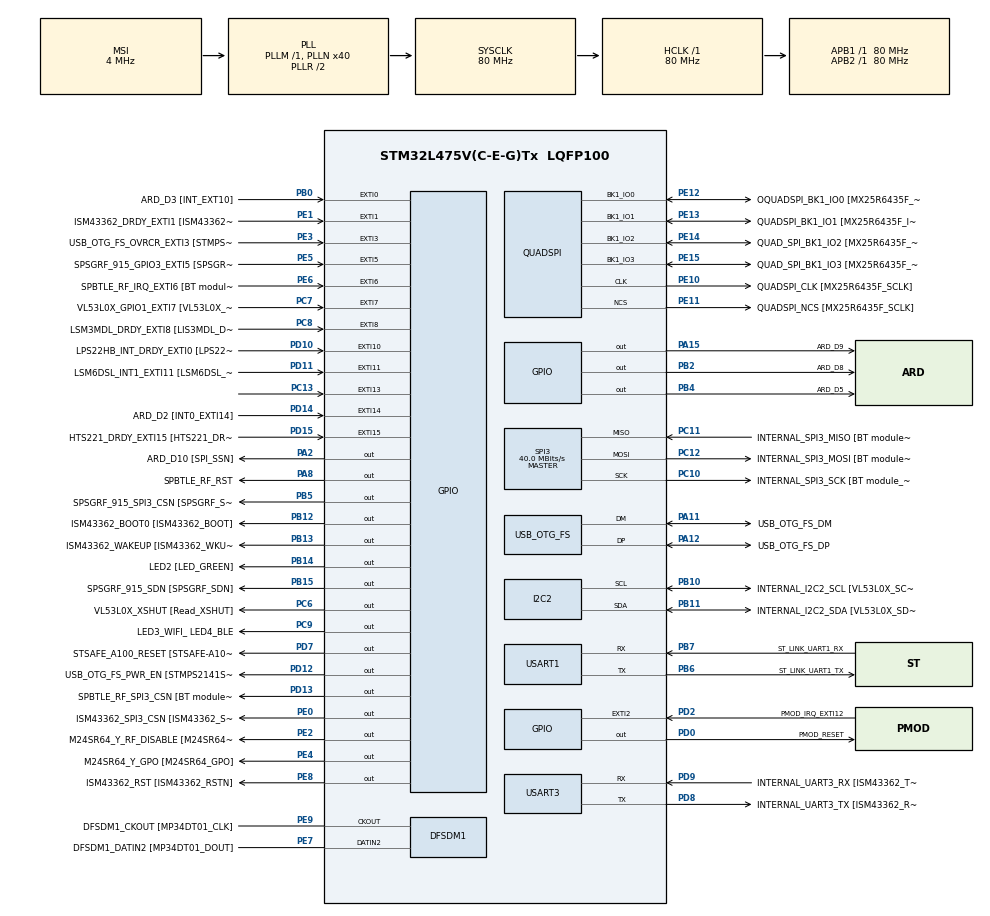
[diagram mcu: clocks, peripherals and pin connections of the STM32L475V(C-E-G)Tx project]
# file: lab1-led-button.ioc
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FREERTOS.Tasks01=defaultTask,24,128,StartDefaultTask,Default,NULL,Dynamic,NULL,NULL;myTask02,47,128,StartTask02,Default,NULL,Dynamic,NULL,NULL
I2C2.Timing=0x10D19CE4
Mcu.Family=STM32L4
Mcu.Name=STM32L475V(C-E-G)Tx
Mcu.Package=LQFP100
NVIC.EXTI15_10_IRQn=true\:5\:0\:false\:false\:true\:true\:true\:true\:true
NVIC.EXTI9_5_IRQn=true\:5\:0\:false\:false\:true\:true\:true\:true\:true
NVIC.PriorityGroup=NVIC_PRIORITYGROUP_4
NVIC.TIM7_IRQn=true\:5\:0\:false\:false\:true\:true\:true\:true\:true
PA0.GPIO_Label=ARD_D1 [UART4_TX]
PA0.Signal=UART4_TX
PA1.GPIO_Label=ARD_D0 [UART4_RX]
PA1.Signal=UART4_RX
PA10.GPIO_Label=USB_OTG_FS_ID
PA10.Signal=USB_OTG_FS_ID
PA11.GPIO_Label=USB_OTG_FS_DM
PA11.Mode=Device_Only
PA11.Signal=USB_OTG_FS_DM
PA12.GPIO_Label=USB_OTG_FS_DP
PA12.Mode=Device_Only
PA12.Signal=USB_OTG_FS_DP
PA13\ (JTMS-SWDIO).GPIO_Label=SYS_JTMS_SWDIO
PA13\ (JTMS-SWDIO).Mode=Serial_Wire
PA13\ (JTMS-SWDIO).Signal=SYS_JTMS-SWDIO
PA14\ (JTCK-SWCLK).GPIO_Label=SYS_JTCK_SWCLK
PA14\ (JTCK-SWCLK).Mode=Serial_Wire
PA14\ (JTCK-SWCLK).Signal=SYS_JTCK-SWCLK
PA15\ (JTDI).GPIO_Label=ARD_D9
PA15\ (JTDI).Signal=GPIO_Output
PA2.GPIO_Label=ARD_D10 [SPI_SSN]
PA2.Signal=GPIO_Output
PA3.GPIO_Label=ARD_D4
PA3.Signal=S_TIM2_CH4
PA4.GPIO_Label=ARD_D7
PA4.Signal=ADCx_IN9
PA5.GPIO_Label=ARD_D13 [SPI1_SCK]
PA5.Signal=SPI1_SCK
PA6.GPIO_Label=ARD_D12 [SPI1_MISO]
PA6.Signal=SPI1_MISO
PA7.GPIO_Label=ARD_D11 [SPI1_MOSI]
PA7.Signal=SPI1_MOSI
PA8.GPIO_Label=SPBTLE_RF_RST
PA8.Signal=GPIO_Output
PA9.GPIO_Label=USB_OTG_FS_VBUS [STMPS2141STR_OUT]
PA9.Signal=USB_OTG_FS_VBUS
PB0.GPIO_Label=ARD_D3 [INT_EXT10]
PB0.Signal=GPXTI0
PB1.GPIO_Label=ARD_D6 [ADC1_IN6]
PB1.Signal=ADCx_IN16
PB10.GPIO_Label=INTERNAL_I2C2_SCL [VL53L0X_SCL]
PB10.GPIO_Pu=GPIO_PULLUP
PB10.Mode=I2C
PB10.Signal=I2C2_SCL
PB11.GPIO_Label=INTERNAL_I2C2_SDA [VL53L0X_SDA]
PB11.GPIO_Pu=GPIO_PULLUP
PB11.Mode=I2C
PB11.Signal=I2C2_SDA
PB12.GPIO_Label=ISM43362_BOOT0 [ISM43362_BOOT]
PB12.Signal=GPIO_Output
PB13.GPIO_Label=ISM43362_WAKEUP [ISM43362_WKUP]
PB13.Signal=GPIO_Output
PB14.GPIO_Label=LED2 [LED_GREEN]
PB14.Signal=GPIO_Output
PB15.GPIO_Label=SPSGRF_915_SDN [SPSGRF_SDN]
PB15.Signal=GPIO_Output
PB2.GPIO_Label=ARD_D8
PB2.Signal=GPIO_Output
PB3\ (JTDO-TRACESWO).GPIO_Label=SYS_JTD0_SWO
PB3\ (JTDO-TRACESWO).Signal=SYS_JTDO-SWO
PB4\ (NJTRST).GPIO_Label=ARD_D5
PB4\ (NJTRST).Signal=GPIO_Output
PB5.GPIO_Label=SPSGRF_915_SPI3_CSN [SPSGRF_SPI_CS]
PB5.PinState=GPIO_PIN_SET
PB5.Signal=GPIO_Output
PB6.GPIO_Label=ST_LINK_UART1_TX
PB6.Mode=Asynchronous
PB6.Signal=USART1_TX
PB7.GPIO_Label=ST_LINK_UART1_RX
PB7.Mode=Asynchronous
PB7.Signal=USART1_RX
PB8.GPIO_Label=ARD_D15 [I2C1_SCL]
PB8.Signal=I2C1_SCL
PB9.GPIO_Label=ARD_D14 [I2C1_SDA]
PB9.Signal=I2C1_SDA
PC0.GPIO_Label=ARD_A5 [ADC]
PC0.Signal=ADCx_IN1
PC1.GPIO_Label=ARD_A4 [ADC]
PC1.Signal=ADCx_IN2
PC10.GPIO_Label=INTERNAL_SPI3_SCK [BT module_SPI_SCLK] [ISM43362_SCK]
PC10.Mode=Full_Duplex_Master
PC10.Signal=SPI3_SCK
PC11.GPIO_Label=INTERNAL_SPI3_MISO [BT module_SPI_MISO] [ISM43362_MISO]
PC11.Mode=Full_Duplex_Master
PC11.Signal=SPI3_MISO
PC12.GPIO_Label=INTERNAL_SPI3_MOSI [BT module_SPI_MOSI] [ISM43362_MOSI]
PC12.Mode=Full_Duplex_Master
PC12.Signal=SPI3_MOSI
PC13.GPIO_ModeDefaultEXTI=GPIO_MODE_IT_RISING_FALLING
PC13.Signal=GPXTI13
PC14-OSC32_IN\ (PC14).Mode=LSE-External-Oscillator
PC14-OSC32_IN\ (PC14).Signal=RCC_OSC32_IN
PC15-OSC32_OUT\ (PC15).Mode=LSE-External-Oscillator
PC15-OSC32_OUT\ (PC15).Signal=RCC_OSC32_OUT
PC2.GPIO_Label=ARD_A3 [ADC]
PC2.Signal=ADCx_IN3
PC3.GPIO_Label=ARD_A2 [ADC]
PC3.Signal=ADCx_IN4
PC4.GPIO_Label=ARD_A1 [ADC]
PC4.Signal=ADCx_IN13
PC5.GPIO_Label=ARD_A0 [ADC]
PC5.Signal=ADCx_IN14
PC6.GPIO_Label=VL53L0X_XSHUT [Read_XSHUT]
PC6.Signal=GPIO_Output
PC7.GPIO_Label=VL53L0X_GPIO1_EXTI7 [VL53L0X_GPIO1]
PC7.Signal=GPXTI7
PC8.GPIO_Label=LSM3MDL_DRDY_EXTI8 [LIS3MDL_DRDY]
PC8.Signal=GPXTI8
PC9.GPIO_Label=LED3_WIFI_ LED4_BLE
PC9.Signal=GPIO_Output
PD0.GPIO_Label=PMOD_RESET
PD0.Signal=GPIO_Output
PD1.GPIO_Label=PMOD_SPI2_SCK
PD1.Signal=SPI2_SCK
PD10.GPIO_Label=LPS22HB_INT_DRDY_EXTI0 [LPS22HB_INT_DRDY] 
PD10.Signal=GPXTI10
PD11.GPIO_Label=LSM6DSL_INT1_EXTI11 [LSM6DSL_INT1]
PD11.Signal=GPXTI11
PD12.GPIO_Label=USB_OTG_FS_PWR_EN [STMPS2141STR_EN]
PD12.Signal=GPIO_Output
PD13.GPIO_Label=SPBTLE_RF_SPI3_CSN [BT module_SPI_CS]
PD13.PinState=GPIO_PIN_SET
PD13.Signal=GPIO_Output
PD14.GPIO_Label=ARD_D2 [INT0_EXTI14]
PD14.Signal=GPXTI14
PD15.GPIO_Label=HTS221_DRDY_EXTI15 [HTS221_DRDY]
PD15.Signal=GPXTI15
PD2.GPIO_Label=PMOD_IRQ_EXTI12
PD2.Signal=GPXTI2
PD3.GPIO_Label=PMOD_UART2_CTS
PD3.Signal=USART2_CTS
PD4.GPIO_Label=PMOD_UART2_RTS
PD4.Signal=USART2_RTS
PD5.GPIO_Label=PMOD_UART2_TX
PD5.Signal=USART2_TX
PD6.GPIO_Label=PMOD_UART2_RX
PD6.Signal=USART2_RX
PD7.GPIO_Label=STSAFE_A100_RESET [STSAFE-A100_RESET]
PD7.Signal=GPIO_Output
PD8.GPIO_Label=INTERNAL_UART3_TX [ISM43362_RX]
PD8.Mode=Asynchronous
PD8.Signal=USART3_TX
PD9.GPIO_Label=INTERNAL_UART3_RX [ISM43362_TX]
PD9.Mode=Asynchronous
PD9.Signal=USART3_RX
PE0.GPIO_Label=ISM43362_SPI3_CSN [ISM43362_SSN]
PE0.PinState=GPIO_PIN_SET
PE0.Signal=GPIO_Output
PE1.GPIO_Label=ISM43362_DRDY_EXTI1 [ISM43362_DATARDY]
PE1.Signal=GPXTI1
PE10.GPIO_Label=QUADSPI_CLK [MX25R6435F_SCLK]
PE10.Mode=Single Bank
PE10.Signal=QUADSPI_CLK
PE11.GPIO_Label=QUADSPI_NCS [MX25R6435F_SCLK]
PE11.Mode=Single Bank
PE11.Signal=QUADSPI_NCS
PE12.GPIO_Label=OQUADSPI_BK1_IO0 [MX25R6435F_IO0]
PE12.Mode=Single Bank
PE12.Signal=QUADSPI_BK1_IO0
PE13.GPIO_Label=QUADSPI_BK1_IO1 [MX25R6435F_IO1]
PE13.Mode=Single Bank
PE13.Signal=QUADSPI_BK1_IO1
PE14.GPIO_Label=QUAD_SPI_BK1_IO2 [MX25R6435F_IO2]
PE14.Mode=Single Bank
PE14.Signal=QUADSPI_BK1_IO2
PE15.GPIO_Label=QUAD_SPI_BK1_IO3 [MX25R6435F_IO3]
PE15.Mode=Single Bank
PE15.Signal=QUADSPI_BK1_IO3
PE2.GPIO_Label=M24SR64_Y_RF_DISABLE [M24SR64_RFDIS]
PE2.Signal=GPIO_Output
PE3.GPIO_Label=USB_OTG_FS_OVRCR_EXTI3 [STMPS2141STR_FAULT]
PE3.Signal=GPXTI3
PE4.GPIO_Label=M24SR64_Y_GPO [M24SR64_GPO]
PE4.Signal=GPIO_Output
PE5.GPIO_Label=SPSGRF_915_GPIO3_EXTI5 [SPSGRF_GPIO_3]
PE5.Signal=GPXTI5
PE6.GPIO_Label=SPBTLE_RF_IRQ_EXTI6 [BT module_SPI_IRQ]
PE6.Signal=GPXTI6
PE7.GPIO_Label=DFSDM1_DATIN2 [MP34DT01_DOUT]
PE7.Signal=S_DATAIN2DFSDM1
PE8.GPIO_Label=ISM43362_RST [ISM43362_RSTN]
PE8.Signal=GPIO_Output
PE9.GPIO_Label=DFSDM1_CKOUT [MP34DT01_CLK]
PE9.Signal=S_CKOUTDFSDM1
ProjectManager.HeapSize=0x200
ProjectManager.StackSize=0x400
ProjectManager.TargetToolchain=CMake
QUADSPI.ClockPrescaler=2
QUADSPI.FifoThreshold=4
QUADSPI.FlashSize=23
QUADSPI.SampleShifting=QSPI_SAMPLE_SHIFTING_HALFCYCLE
RCC.ADCFreq_Value=48000000
RCC.AHBFreq_Value=80000000
RCC.APB1Freq_Value=80000000
RCC.APB1TimFreq_Value=80000000
RCC.APB2Freq_Value=80000000
RCC.APB2TimFreq_Value=80000000
RCC.CortexFreq_Value=80000000
RCC.HCLKFreq_Value=80000000
RCC.HSE_VALUE=8000000
RCC.HSI_VALUE=16000000
RCC.MSI_VALUE=4000000
RCC.PLLN=40
RCC.PLLSAI1N=24
RCC.SYSCLKFreq_VALUE=80000000
RCC.SYSCLKSource=RCC_SYSCLKSOURCE_PLLCLK
RCC.USBFreq_Value=48000000
RCC.VCOOutputFreq_Value=160000000
SH.ADCx_IN1.0=ADC1_IN1
SH.ADCx_IN13.0=ADC1_IN13
SH.ADCx_IN14.0=ADC1_IN14
SH.ADCx_IN16.0=ADC1_IN16
SH.ADCx_IN2.0=ADC1_IN2
SH.ADCx_IN3.0=ADC1_IN3
SH.ADCx_IN4.0=ADC1_IN4
SH.ADCx_IN9.0=ADC1_IN9
SH.S_CKOUTDFSDM1.0=DFSDM1_CKOUT,CKOUT
SH.S_CKOUTDFSDM1.1=DFSDM1_CKOUT,PDM_SPI_Input_from_ch12_and_Internal_Clock
SH.S_DATAIN2DFSDM1.0=DFSDM1_DATIN2,PDM_SPI_Input_from_ch12_and_Internal_Clock
SH.S_TIM2_CH4.0=TIM2_CH4
SPI3.CalculateBaudRate=40.0 MBits/s
SPI3.Direction=SPI_DIRECTION_2LINES
SPI3.Mode=SPI_MODE_MASTER
SPI3.VirtualType=VM_MASTER
TIM7.Period=63999
TIM7.Prescaler=12499
USART1.VirtualMode-Asynchronous=VM_ASYNC
USART3.VirtualMode-Asynchronous=VM_ASYNC
USB_OTG_FS.VirtualMode=Device_Only
VP_FREERTOS_VS_CMSIS_V2.Mode=CMSIS_V2
VP_TIM7_VS_ClockSourceINT.Mode=Enable_Timer
board=B-L475E-IOT01A2

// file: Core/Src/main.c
/* USER CODE BEGIN Header */
/**
  ******************************************************************************
  * @file           : main.c
  * @brief          : Main program body
  ******************************************************************************
  * @attention
  *
  * Copyright (c) 2026 STMicroelectronics.
  * All rights reserved.
  *
  * This software is licensed under terms that can be found in the LICENSE file
  * in the root directory of this software component.
  * If no LICENSE file comes with this software, it is provided AS-IS.
  *
  ******************************************************************************
  */
/* USER CODE END Header */
#include "main.h"
#include "cmsis_os.h"

DFSDM_Channel_HandleTypeDef hdfsdm1_channel1;

I2C_HandleTypeDef hi2c2;

QSPI_HandleTypeDef hqspi;

SPI_HandleTypeDef hspi3;

TIM_HandleTypeDef htim7;

UART_HandleTypeDef huart1;
UART_HandleTypeDef huart3;

PCD_HandleTypeDef hpcd_USB_OTG_FS;

/* Definitions for defaultTask */
osThreadId_t defaultTaskHandle;
const osThreadAttr_t defaultTask_attributes = {
  .name = "defaultTask",
  .stack_size = 128 * 4,
  .priority = (osPriority_t) osPriorityNormal,
};
/* Definitions for myTask02 */
osThreadId_t myTask02Handle;
const osThreadAttr_t myTask02_attributes = {
  .name = "myTask02",
  .stack_size = 128 * 4,
  .priority = (osPriority_t) osPriorityHigh7,
};
/* USER CODE BEGIN PV */

osSemaphoreId_t buttonSemaphore;
osSemaphoreId_t timerSemaphore;
osMutexId_t ledMutex;

typedef enum{
  BUTTON_PRESSED,
  BUTTON_RELEASED
} ButtonEvent_t;

osMessageQueueId_t buttonQueue;

/* USER CODE END PV */

void SystemClock_Config(void);
static void MX_GPIO_Init(void);
static void MX_DFSDM1_Init(void);
static void MX_I2C2_Init(void);
static void MX_QUADSPI_Init(void);
static void MX_SPI3_Init(void);
static void MX_USART1_UART_Init(void);
static void MX_USART3_UART_Init(void);
static void MX_USB_OTG_FS_PCD_Init(void);
static void MX_TIM7_Init(void);
void StartDefaultTask(void *argument);
void StartTask02(void *argument);

int main(void)
{

  /* MCU Configuration--------------------------------------------------------*/

  /* Reset of all peripherals, Initializes the Flash interface and the Systick. */
  HAL_Init();

  /* Configure the system clock */
  SystemClock_Config();

  /* Initialize all configured peripherals */
  MX_GPIO_Init();
  MX_DFSDM1_Init();
  MX_I2C2_Init();
  MX_QUADSPI_Init();
  MX_SPI3_Init();
  MX_USART1_UART_Init();
  MX_USART3_UART_Init();
  MX_USB_OTG_FS_PCD_Init();
  MX_TIM7_Init();

  /* Init scheduler */
  osKernelInitialize();

  /* USER CODE BEGIN RTOS_SEMAPHORES */
  /* add semaphores, ... */
  buttonSemaphore = osSemaphoreNew(1,0,NULL);
  timerSemaphore = osSemaphoreNew(1,0,NULL);
  ledMutex = osMutexNew(NULL);
  buttonQueue = osMessageQueueNew(8,sizeof(ButtonEvent_t),NULL);

  /* USER CODE END RTOS_SEMAPHORES */

  /* USER CODE BEGIN RTOS_TIMERS */
  /* start timers, add new ones, ... */
  HAL_TIM_Base_Start_IT(&htim7);
  /* USER CODE END RTOS_TIMERS */

  /* Create the thread(s) */
  /* creation of defaultTask */
  defaultTaskHandle = osThreadNew(StartDefaultTask, NULL, &defaultTask_attributes);

  /* creation of myTask02 */
  myTask02Handle = osThreadNew(StartTask02, NULL, &myTask02_attributes);

  /* Start scheduler */
  osKernelStart();

  /* We should never get here as control is now taken by the scheduler */

  /* Infinite loop */
  while (1)
  {

  }
}

void SystemClock_Config(void)
{
  RCC_OscInitTypeDef RCC_OscInitStruct = {0};
  RCC_ClkInitTypeDef RCC_ClkInitStruct = {0};

  /** Configure the main internal regulator output voltage
  */
  if (HAL_PWREx_ControlVoltageScaling(PWR_REGULATOR_VOLTAGE_SCALE1) != HAL_OK)
  {
    Error_Handler();
  }

  /** Configure LSE Drive Capability
  */
  HAL_PWR_EnableBkUpAccess();
  __HAL_RCC_LSEDRIVE_CONFIG(RCC_LSEDRIVE_LOW);

  /** Initializes the RCC Oscillators according to the specified parameters
  * in the RCC_OscInitTypeDef structure.
  */
  RCC_OscInitStruct.OscillatorType = RCC_OSCILLATORTYPE_LSE|RCC_OSCILLATORTYPE_MSI;
  RCC_OscInitStruct.LSEState = RCC_LSE_ON;
  RCC_OscInitStruct.MSIState = RCC_MSI_ON;
  RCC_OscInitStruct.MSICalibrationValue = 0;
  RCC_OscInitStruct.MSIClockRange = RCC_MSIRANGE_6;
  RCC_OscInitStruct.PLL.PLLState = RCC_PLL_ON;
  RCC_OscInitStruct.PLL.PLLSource = RCC_PLLSOURCE_MSI;
  RCC_OscInitStruct.PLL.PLLM = 1;
  RCC_OscInitStruct.PLL.PLLN = 40;
  RCC_OscInitStruct.PLL.PLLP = RCC_PLLP_DIV7;
  RCC_OscInitStruct.PLL.PLLQ = RCC_PLLQ_DIV2;
  RCC_OscInitStruct.PLL.PLLR = RCC_PLLR_DIV2;
  if (HAL_RCC_OscConfig(&RCC_OscInitStruct) != HAL_OK)
  {
    Error_Handler();
  }

  /** Initializes the CPU, AHB and APB buses clocks
  */
  RCC_ClkInitStruct.ClockType = RCC_CLOCKTYPE_HCLK|RCC_CLOCKTYPE_SYSCLK
                              |RCC_CLOCKTYPE_PCLK1|RCC_CLOCKTYPE_PCLK2;
  RCC_ClkInitStruct.SYSCLKSource = RCC_SYSCLKSOURCE_PLLCLK;
  RCC_ClkInitStruct.AHBCLKDivider = RCC_SYSCLK_DIV1;
  RCC_ClkInitStruct.APB1CLKDivider = RCC_HCLK_DIV1;
  RCC_ClkInitStruct.APB2CLKDivider = RCC_HCLK_DIV1;

  if (HAL_RCC_ClockConfig(&RCC_ClkInitStruct, FLASH_LATENCY_4) != HAL_OK)
  {
    Error_Handler();
  }

  /** Enable MSI Auto calibration
  */
  HAL_RCCEx_EnableMSIPLLMode();
}

static void MX_DFSDM1_Init(void)
{

  hdfsdm1_channel1.Instance = DFSDM1_Channel1;
  hdfsdm1_channel1.Init.OutputClock.Activation = ENABLE;
  hdfsdm1_channel1.Init.OutputClock.Selection = DFSDM_CHANNEL_OUTPUT_CLOCK_SYSTEM;
  hdfsdm1_channel1.Init.OutputClock.Divider = 2;
  hdfsdm1_channel1.Init.Input.Multiplexer = DFSDM_CHANNEL_EXTERNAL_INPUTS;
  hdfsdm1_channel1.Init.Input.DataPacking = DFSDM_CHANNEL_STANDARD_MODE;
  hdfsdm1_channel1.Init.Input.Pins = DFSDM_CHANNEL_FOLLOWING_CHANNEL_PINS;
  hdfsdm1_channel1.Init.SerialInterface.Type = DFSDM_CHANNEL_SPI_RISING;
  hdfsdm1_channel1.Init.SerialInterface.SpiClock = DFSDM_CHANNEL_SPI_CLOCK_INTERNAL;
  hdfsdm1_channel1.Init.Awd.FilterOrder = DFSDM_CHANNEL_FASTSINC_ORDER;
  hdfsdm1_channel1.Init.Awd.Oversampling = 1;
  hdfsdm1_channel1.Init.Offset = 0;
  hdfsdm1_channel1.Init.RightBitShift = 0x00;
  if (HAL_DFSDM_ChannelInit(&hdfsdm1_channel1) != HAL_OK)
  {
    Error_Handler();
  }

}

static void MX_I2C2_Init(void)
{

  hi2c2.Instance = I2C2;
  hi2c2.Init.Timing = 0x10D19CE4;
  hi2c2.Init.OwnAddress1 = 0;
  hi2c2.Init.AddressingMode = I2C_ADDRESSINGMODE_7BIT;
  hi2c2.Init.DualAddressMode = I2C_DUALADDRESS_DISABLE;
  hi2c2.Init.OwnAddress2 = 0;
  hi2c2.Init.OwnAddress2Masks = I2C_OA2_NOMASK;
  hi2c2.Init.GeneralCallMode = I2C_GENERALCALL_DISABLE;
  hi2c2.Init.NoStretchMode = I2C_NOSTRETCH_DISABLE;
  if (HAL_I2C_Init(&hi2c2) != HAL_OK)
  {
    Error_Handler();
  }

  /** Configure Analogue filter
  */
  if (HAL_I2CEx_ConfigAnalogFilter(&hi2c2, I2C_ANALOGFILTER_ENABLE) != HAL_OK)
  {
    Error_Handler();
  }

  /** Configure Digital filter
  */
  if (HAL_I2CEx_ConfigDigitalFilter(&hi2c2, 0) != HAL_OK)
  {
    Error_Handler();
  }

}

static void MX_QUADSPI_Init(void)
{

  /* QUADSPI parameter configuration*/
  hqspi.Instance = QUADSPI;
  hqspi.Init.ClockPrescaler = 2;
  hqspi.Init.FifoThreshold = 4;
  hqspi.Init.SampleShifting = QSPI_SAMPLE_SHIFTING_HALFCYCLE;
  hqspi.Init.FlashSize = 23;
  hqspi.Init.ChipSelectHighTime = QSPI_CS_HIGH_TIME_1_CYCLE;
  hqspi.Init.ClockMode = QSPI_CLOCK_MODE_0;
  if (HAL_QSPI_Init(&hqspi) != HAL_OK)
  {
    Error_Handler();
  }

}

static void MX_SPI3_Init(void)
{

  /* SPI3 parameter configuration*/
  hspi3.Instance = SPI3;
  hspi3.Init.Mode = SPI_MODE_MASTER;
  hspi3.Init.Direction = SPI_DIRECTION_2LINES;
  hspi3.Init.DataSize = SPI_DATASIZE_4BIT;
  hspi3.Init.CLKPolarity = SPI_POLARITY_LOW;
  hspi3.Init.CLKPhase = SPI_PHASE_1EDGE;
  hspi3.Init.NSS = SPI_NSS_SOFT;
  hspi3.Init.BaudRatePrescaler = SPI_BAUDRATEPRESCALER_2;
  hspi3.Init.FirstBit = SPI_FIRSTBIT_MSB;
  hspi3.Init.TIMode = SPI_TIMODE_DISABLE;
  hspi3.Init.CRCCalculation = SPI_CRCCALCULATION_DISABLE;
  hspi3.Init.CRCPolynomial = 7;
  hspi3.Init.CRCLength = SPI_CRC_LENGTH_DATASIZE;
  hspi3.Init.NSSPMode = SPI_NSS_PULSE_ENABLE;
  if (HAL_SPI_Init(&hspi3) != HAL_OK)
  {
    Error_Handler();
  }

}

static void MX_TIM7_Init(void)
{

  TIM_MasterConfigTypeDef sMasterConfig = {0};

  htim7.Instance = TIM7;
  htim7.Init.Prescaler = 12499;
  htim7.Init.CounterMode = TIM_COUNTERMODE_UP;
  htim7.Init.Period = 63999;
  htim7.Init.AutoReloadPreload = TIM_AUTORELOAD_PRELOAD_DISABLE;
  if (HAL_TIM_Base_Init(&htim7) != HAL_OK)
  {
    Error_Handler();
  }
  sMasterConfig.MasterOutputTrigger = TIM_TRGO_RESET;
  sMasterConfig.MasterSlaveMode = TIM_MASTERSLAVEMODE_DISABLE;
  if (HAL_TIMEx_MasterConfigSynchronization(&htim7, &sMasterConfig) != HAL_OK)
  {
    Error_Handler();
  }

}

static void MX_USART1_UART_Init(void)
{

  huart1.Instance = USART1;
  huart1.Init.BaudRate = 115200;
  huart1.Init.WordLength = UART_WORDLENGTH_8B;
  huart1.Init.StopBits = UART_STOPBITS_1;
  huart1.Init.Parity = UART_PARITY_NONE;
  huart1.Init.Mode = UART_MODE_TX_RX;
  huart1.Init.HwFlowCtl = UART_HWCONTROL_NONE;
  huart1.Init.OverSampling = UART_OVERSAMPLING_16;
  huart1.Init.OneBitSampling = UART_ONE_BIT_SAMPLE_DISABLE;
  huart1.AdvancedInit.AdvFeatureInit = UART_ADVFEATURE_NO_INIT;
  if (HAL_UART_Init(&huart1) != HAL_OK)
  {
    Error_Handler();
  }

}

static void MX_USART3_UART_Init(void)
{

  huart3.Instance = USART3;
  huart3.Init.BaudRate = 115200;
  huart3.Init.WordLength = UART_WORDLENGTH_8B;
  huart3.Init.StopBits = UART_STOPBITS_1;
  huart3.Init.Parity = UART_PARITY_NONE;
  huart3.Init.Mode = UART_MODE_TX_RX;
  huart3.Init.HwFlowCtl = UART_HWCONTROL_NONE;
  huart3.Init.OverSampling = UART_OVERSAMPLING_16;
  huart3.Init.OneBitSampling = UART_ONE_BIT_SAMPLE_DISABLE;
  huart3.AdvancedInit.AdvFeatureInit = UART_ADVFEATURE_NO_INIT;
  if (HAL_UART_Init(&huart3) != HAL_OK)
  {
    Error_Handler();
  }

}

static void MX_USB_OTG_FS_PCD_Init(void)
{

  hpcd_USB_OTG_FS.Instance = USB_OTG_FS;
  hpcd_USB_OTG_FS.Init.dev_endpoints = 6;
  hpcd_USB_OTG_FS.Init.speed = PCD_SPEED_FULL;
  hpcd_USB_OTG_FS.Init.phy_itface = PCD_PHY_EMBEDDED;
  hpcd_USB_OTG_FS.Init.Sof_enable = DISABLE;
  hpcd_USB_OTG_FS.Init.low_power_enable = DISABLE;
  hpcd_USB_OTG_FS.Init.lpm_enable = DISABLE;
  hpcd_USB_OTG_FS.Init.battery_charging_enable = DISABLE;
  hpcd_USB_OTG_FS.Init.use_dedicated_ep1 = DISABLE;
  hpcd_USB_OTG_FS.Init.vbus_sensing_enable = DISABLE;
  if (HAL_PCD_Init(&hpcd_USB_OTG_FS) != HAL_OK)
  {
    Error_Handler();
  }

}

static void MX_GPIO_Init(void)
{
  GPIO_InitTypeDef GPIO_InitStruct = {0};

  /* GPIO Ports Clock Enable */
  __HAL_RCC_GPIOE_CLK_ENABLE();
  __HAL_RCC_GPIOC_CLK_ENABLE();
  __HAL_RCC_GPIOA_CLK_ENABLE();
  __HAL_RCC_GPIOB_CLK_ENABLE();
  __HAL_RCC_GPIOD_CLK_ENABLE();

  /*Configure GPIO pin Output Level */
  HAL_GPIO_WritePin(GPIOE, M24SR64_Y_RF_DISABLE_Pin|M24SR64_Y_GPO_Pin|ISM43362_RST_Pin, GPIO_PIN_RESET);

  /*Configure GPIO pin Output Level */
  HAL_GPIO_WritePin(GPIOA, ARD_D10_Pin|SPBTLE_RF_RST_Pin|ARD_D9_Pin, GPIO_PIN_RESET);

  /*Configure GPIO pin Output Level */
  HAL_GPIO_WritePin(GPIOB, ARD_D8_Pin|ISM43362_BOOT0_Pin|ISM43362_WAKEUP_Pin|LED2_Pin
                          |SPSGRF_915_SDN_Pin|ARD_D5_Pin, GPIO_PIN_RESET);

  /*Configure GPIO pin Output Level */
  HAL_GPIO_WritePin(GPIOD, USB_OTG_FS_PWR_EN_Pin|PMOD_RESET_Pin|STSAFE_A100_RESET_Pin, GPIO_PIN_RESET);

  /*Configure GPIO pin Output Level */
  HAL_GPIO_WritePin(SPBTLE_RF_SPI3_CSN_GPIO_Port, SPBTLE_RF_SPI3_CSN_Pin, GPIO_PIN_SET);

  /*Configure GPIO pin Output Level */
  HAL_GPIO_WritePin(GPIOC, VL53L0X_XSHUT_Pin|LED3_WIFI__LED4_BLE_Pin, GPIO_PIN_RESET);

  /*Configure GPIO pin Output Level */
  HAL_GPIO_WritePin(SPSGRF_915_SPI3_CSN_GPIO_Port, SPSGRF_915_SPI3_CSN_Pin, GPIO_PIN_SET);

  /*Configure GPIO pin Output Level */
  HAL_GPIO_WritePin(ISM43362_SPI3_CSN_GPIO_Port, ISM43362_SPI3_CSN_Pin, GPIO_PIN_SET);

  /*Configure GPIO pins : M24SR64_Y_RF_DISABLE_Pin M24SR64_Y_GPO_Pin ISM43362_RST_Pin ISM43362_SPI3_CSN_Pin */
  GPIO_InitStruct.Pin = M24SR64_Y_RF_DISABLE_Pin|M24SR64_Y_GPO_Pin|ISM43362_RST_Pin|ISM43362_SPI3_CSN_Pin;
  GPIO_InitStruct.Mode = GPIO_MODE_OUTPUT_PP;
  GPIO_InitStruct.Pull = GPIO_NOPULL;
  GPIO_InitStruct.Speed = GPIO_SPEED_FREQ_LOW;
  HAL_GPIO_Init(GPIOE, &GPIO_InitStruct);

  /*Configure GPIO pins : USB_OTG_FS_OVRCR_EXTI3_Pin SPSGRF_915_GPIO3_EXTI5_Pin SPBTLE_RF_IRQ_EXTI6_Pin ISM43362_DRDY_EXTI1_Pin */
  GPIO_InitStruct.Pin = USB_OTG_FS_OVRCR_EXTI3_Pin|SPSGRF_915_GPIO3_EXTI5_Pin|SPBTLE_RF_IRQ_EXTI6_Pin|ISM43362_DRDY_EXTI1_Pin;
  GPIO_InitStruct.Mode = GPIO_MODE_IT_RISING;
  GPIO_InitStruct.Pull = GPIO_NOPULL;
  HAL_GPIO_Init(GPIOE, &GPIO_InitStruct);

  /*Configure GPIO pin : PC13 */
  GPIO_InitStruct.Pin = GPIO_PIN_13;
  GPIO_InitStruct.Mode = GPIO_MODE_IT_RISING_FALLING;
  GPIO_InitStruct.Pull = GPIO_NOPULL;
  HAL_GPIO_Init(GPIOC, &GPIO_InitStruct);

  /*Configure GPIO pins : ARD_A5_Pin ARD_A4_Pin ARD_A3_Pin ARD_A2_Pin
                           ARD_A1_Pin ARD_A0_Pin */
  GPIO_InitStruct.Pin = ARD_A5_Pin|ARD_A4_Pin|ARD_A3_Pin|ARD_A2_Pin
                          |ARD_A1_Pin|ARD_A0_Pin;
  GPIO_InitStruct.Mode = GPIO_MODE_ANALOG_ADC_CONTROL;
  GPIO_InitStruct.Pull = GPIO_NOPULL;
  HAL_GPIO_Init(GPIOC, &GPIO_InitStruct);

  /*Configure GPIO pins : ARD_D1_Pin ARD_D0_Pin */
  GPIO_InitStruct.Pin = ARD_D1_Pin|ARD_D0_Pin;
  GPIO_InitStruct.Mode = GPIO_MODE_AF_PP;
  GPIO_InitStruct.Pull = GPIO_NOPULL;
  GPIO_InitStruct.Speed = GPIO_SPEED_FREQ_VERY_HIGH;
  GPIO_InitStruct.Alternate = GPIO_AF8_UART4;
  HAL_GPIO_Init(GPIOA, &GPIO_InitStruct);

  /*Configure GPIO pins : ARD_D10_Pin SPBTLE_RF_RST_Pin ARD_D9_Pin */
  GPIO_InitStruct.Pin = ARD_D10_Pin|SPBTLE_RF_RST_Pin|ARD_D9_Pin;
  GPIO_InitStruct.Mode = GPIO_MODE_OUTPUT_PP;
  GPIO_InitStruct.Pull = GPIO_NOPULL;
  GPIO_InitStruct.Speed = GPIO_SPEED_FREQ_LOW;
  HAL_GPIO_Init(GPIOA, &GPIO_InitStruct);

  /*Configure GPIO pin : ARD_D4_Pin */
  GPIO_InitStruct.Pin = ARD_D4_Pin;
  GPIO_InitStruct.Mode = GPIO_MODE_AF_PP;
  GPIO_InitStruct.Pull = GPIO_NOPULL;
  GPIO_InitStruct.Speed = GPIO_SPEED_FREQ_LOW;
  GPIO_InitStruct.Alternate = GPIO_AF1_TIM2;
  HAL_GPIO_Init(ARD_D4_GPIO_Port, &GPIO_InitStruct);

  /*Configure GPIO pin : ARD_D7_Pin */
  GPIO_InitStruct.Pin = ARD_D7_Pin;
  GPIO_InitStruct.Mode = GPIO_MODE_ANALOG_ADC_CONTROL;
  GPIO_InitStruct.Pull = GPIO_NOPULL;
  HAL_GPIO_Init(ARD_D7_GPIO_Port, &GPIO_InitStruct);

  /*Configure GPIO pins : ARD_D13_Pin ARD_D12_Pin ARD_D11_Pin */
  GPIO_InitStruct.Pin = ARD_D13_Pin|ARD_D12_Pin|ARD_D11_Pin;
  GPIO_InitStruct.Mode = GPIO_MODE_AF_PP;
  GPIO_InitStruct.Pull = GPIO_NOPULL;
  GPIO_InitStruct.Speed = GPIO_SPEED_FREQ_VERY_HIGH;
  GPIO_InitStruct.Alternate = GPIO_AF5_SPI1;
  HAL_GPIO_Init(GPIOA, &GPIO_InitStruct);

  /*Configure GPIO pin : ARD_D3_Pin */
  GPIO_InitStruct.Pin = ARD_D3_Pin;
  GPIO_InitStruct.Mode = GPIO_MODE_IT_RISING;
  GPIO_InitStruct.Pull = GPIO_NOPULL;
  HAL_GPIO_Init(ARD_D3_GPIO_Port, &GPIO_InitStruct);

  /*Configure GPIO pin : ARD_D6_Pin */
  GPIO_InitStruct.Pin = ARD_D6_Pin;
  GPIO_InitStruct.Mode = GPIO_MODE_ANALOG_ADC_CONTROL;
  GPIO_InitStruct.Pull = GPIO_NOPULL;
  HAL_GPIO_Init(ARD_D6_GPIO_Port, &GPIO_InitStruct);

  /*Configure GPIO pins : ARD_D8_Pin ISM43362_BOOT0_Pin ISM43362_WAKEUP_Pin LED2_Pin
                           SPSGRF_915_SDN_Pin ARD_D5_Pin SPSGRF_915_SPI3_CSN_Pin */
  GPIO_InitStruct.Pin = ARD_D8_Pin|ISM43362_BOOT0_Pin|ISM43362_WAKEUP_Pin|LED2_Pin
                          |SPSGRF_915_SDN_Pin|ARD_D5_Pin|SPSGRF_915_SPI3_CSN_Pin;
  GPIO_InitStruct.Mode = GPIO_MODE_OUTPUT_PP;
  GPIO_InitStruct.Pull = GPIO_NOPULL;
  GPIO_InitStruct.Speed = GPIO_SPEED_FREQ_LOW;
  HAL_GPIO_Init(GPIOB, &GPIO_InitStruct);

  /*Configure GPIO pins : LPS22HB_INT_DRDY_EXTI0_Pin LSM6DSL_INT1_EXTI11_Pin ARD_D2_Pin HTS221_DRDY_EXTI15_Pin
                           PMOD_IRQ_EXTI12_Pin */
  GPIO_InitStruct.Pin = LPS22HB_INT_DRDY_EXTI0_Pin|LSM6DSL_INT1_EXTI11_Pin|ARD_D2_Pin|HTS221_DRDY_EXTI15_Pin
                          |PMOD_IRQ_EXTI12_Pin;
  GPIO_InitStruct.Mode = GPIO_MODE_IT_RISING;
  GPIO_InitStruct.Pull = GPIO_NOPULL;
  HAL_GPIO_Init(GPIOD, &GPIO_InitStruct);

  /*Configure GPIO pins : USB_OTG_FS_PWR_EN_Pin SPBTLE_RF_SPI3_CSN_Pin PMOD_RESET_Pin STSAFE_A100_RESET_Pin */
  GPIO_InitStruct.Pin = USB_OTG_FS_PWR_EN_Pin|SPBTLE_RF_SPI3_CSN_Pin|PMOD_RESET_Pin|STSAFE_A100_RESET_Pin;
  GPIO_InitStruct.Mode = GPIO_MODE_OUTPUT_PP;
  GPIO_InitStruct.Pull = GPIO_NOPULL;
  GPIO_InitStruct.Speed = GPIO_SPEED_FREQ_LOW;
  HAL_GPIO_Init(GPIOD, &GPIO_InitStruct);

  /*Configure GPIO pins : VL53L0X_XSHUT_Pin LED3_WIFI__LED4_BLE_Pin */
  GPIO_InitStruct.Pin = VL53L0X_XSHUT_Pin|LED3_WIFI__LED4_BLE_Pin;
  GPIO_InitStruct.Mode = GPIO_MODE_OUTPUT_PP;
  GPIO_InitStruct.Pull = GPIO_NOPULL;
  GPIO_InitStruct.Speed = GPIO_SPEED_FREQ_LOW;
  HAL_GPIO_Init(GPIOC, &GPIO_InitStruct);

  /*Configure GPIO pins : VL53L0X_GPIO1_EXTI7_Pin LSM3MDL_DRDY_EXTI8_Pin */
  GPIO_InitStruct.Pin = VL53L0X_GPIO1_EXTI7_Pin|LSM3MDL_DRDY_EXTI8_Pin;
  GPIO_InitStruct.Mode = GPIO_MODE_IT_RISING;
  GPIO_InitStruct.Pull = GPIO_NOPULL;
  HAL_GPIO_Init(GPIOC, &GPIO_InitStruct);

  /*Configure GPIO pin : PMOD_SPI2_SCK_Pin */
  GPIO_InitStruct.Pin = PMOD_SPI2_SCK_Pin;
  GPIO_InitStruct.Mode = GPIO_MODE_AF_PP;
  GPIO_InitStruct.Pull = GPIO_NOPULL;
  GPIO_InitStruct.Speed = GPIO_SPEED_FREQ_VERY_HIGH;
  GPIO_InitStruct.Alternate = GPIO_AF5_SPI2;
  HAL_GPIO_Init(PMOD_SPI2_SCK_GPIO_Port, &GPIO_InitStruct);

  /*Configure GPIO pins : PMOD_UART2_CTS_Pin PMOD_UART2_RTS_Pin PMOD_UART2_TX_Pin PMOD_UART2_RX_Pin */
  GPIO_InitStruct.Pin = PMOD_UART2_CTS_Pin|PMOD_UART2_RTS_Pin|PMOD_UART2_TX_Pin|PMOD_UART2_RX_Pin;
  GPIO_InitStruct.Mode = GPIO_MODE_AF_PP;
  GPIO_InitStruct.Pull = GPIO_NOPULL;
  GPIO_InitStruct.Speed = GPIO_SPEED_FREQ_VERY_HIGH;
  GPIO_InitStruct.Alternate = GPIO_AF7_USART2;
  HAL_GPIO_Init(GPIOD, &GPIO_InitStruct);

  /*Configure GPIO pins : ARD_D15_Pin ARD_D14_Pin */
  GPIO_InitStruct.Pin = ARD_D15_Pin|ARD_D14_Pin;
  GPIO_InitStruct.Mode = GPIO_MODE_AF_OD;
  GPIO_InitStruct.Pull = GPIO_NOPULL;
  GPIO_InitStruct.Speed = GPIO_SPEED_FREQ_VERY_HIGH;
  GPIO_InitStruct.Alternate = GPIO_AF4_I2C1;
  HAL_GPIO_Init(GPIOB, &GPIO_InitStruct);

  /* EXTI interrupt init*/
  HAL_NVIC_SetPriority(EXTI9_5_IRQn, 5, 0);
  HAL_NVIC_EnableIRQ(EXTI9_5_IRQn);

  HAL_NVIC_SetPriority(EXTI15_10_IRQn, 5, 0);
  HAL_NVIC_EnableIRQ(EXTI15_10_IRQn);

}

/* USER CODE BEGIN 4 */

void Blink_LED2(uint32_t toggleDelay, uint32_t toggleCount)
{
  if (osMutexAcquire(ledMutex, osWaitForever)== osOK)
  {
  for (int i=0; i<toggleCount; i++)
  {
    HAL_GPIO_TogglePin(LED2_GPIO_Port, LED2_Pin);
    osDelay(toggleDelay);
  }
  osMutexRelease(ledMutex);
  }
}

void HAL_GPIO_EXTI_Callback(uint16_t GPIO_Pin)
{
  ButtonEvent_t event;
  if (GPIO_Pin == GPIO_PIN_13)
  {
    if (HAL_GPIO_ReadPin(GPIOC, GPIO_PIN_13) == GPIO_PIN_RESET)
    {
      event = BUTTON_PRESSED;
    }
    else
    {
      event = BUTTON_RELEASED;
    }
    osMessageQueuePut(buttonQueue, &event, 0, 0);
  }

}

void HAL_TIM_PeriodElapsedCallback(TIM_HandleTypeDef *htim)
{
  if (htim->Instance == TIM7)
  {
    osSemaphoreRelease(timerSemaphore);
  }
}
/* USER CODE END 4 */

void StartDefaultTask(void *argument)
{
  /* USER CODE BEGIN 5 */
  /* Infinite loop */
  ButtonEvent_t event;
  uint32_t pressTime;
  uint32_t pressDuration;

  for(;;)
  {
    if (osMessageQueueGet(buttonQueue, &event, NULL, osWaitForever) == osOK)
    {
      if (event == BUTTON_PRESSED)
      {
        pressTime = osKernelGetTickCount();

        do
        {
          if (osMessageQueueGet(buttonQueue, &event, NULL, 100) == osOK)
          {
            if (event == BUTTON_RELEASED)
            {
              break;
            }
          }
        }while (1);

        pressDuration = osKernelGetTickCount() - pressTime;

        if (pressDuration >= 1000)
        {
          Blink_LED2(50, 100);
        }
        else
        {
          Blink_LED2(500, 10);
        }
      }
    }
  }
  /* USER CODE END 5 */
}

void StartTask02(void *argument)
{
  /* USER CODE BEGIN StartTask02 */
  /* Infinite loop */
  for(;;)
  {
    osSemaphoreAcquire(timerSemaphore, osWaitForever);
    Blink_LED2(50, 40);
  }
  /* USER CODE END StartTask02 */
}

void Error_Handler(void)
{
  __disable_irq();
  while (1)
  {
  }
}
